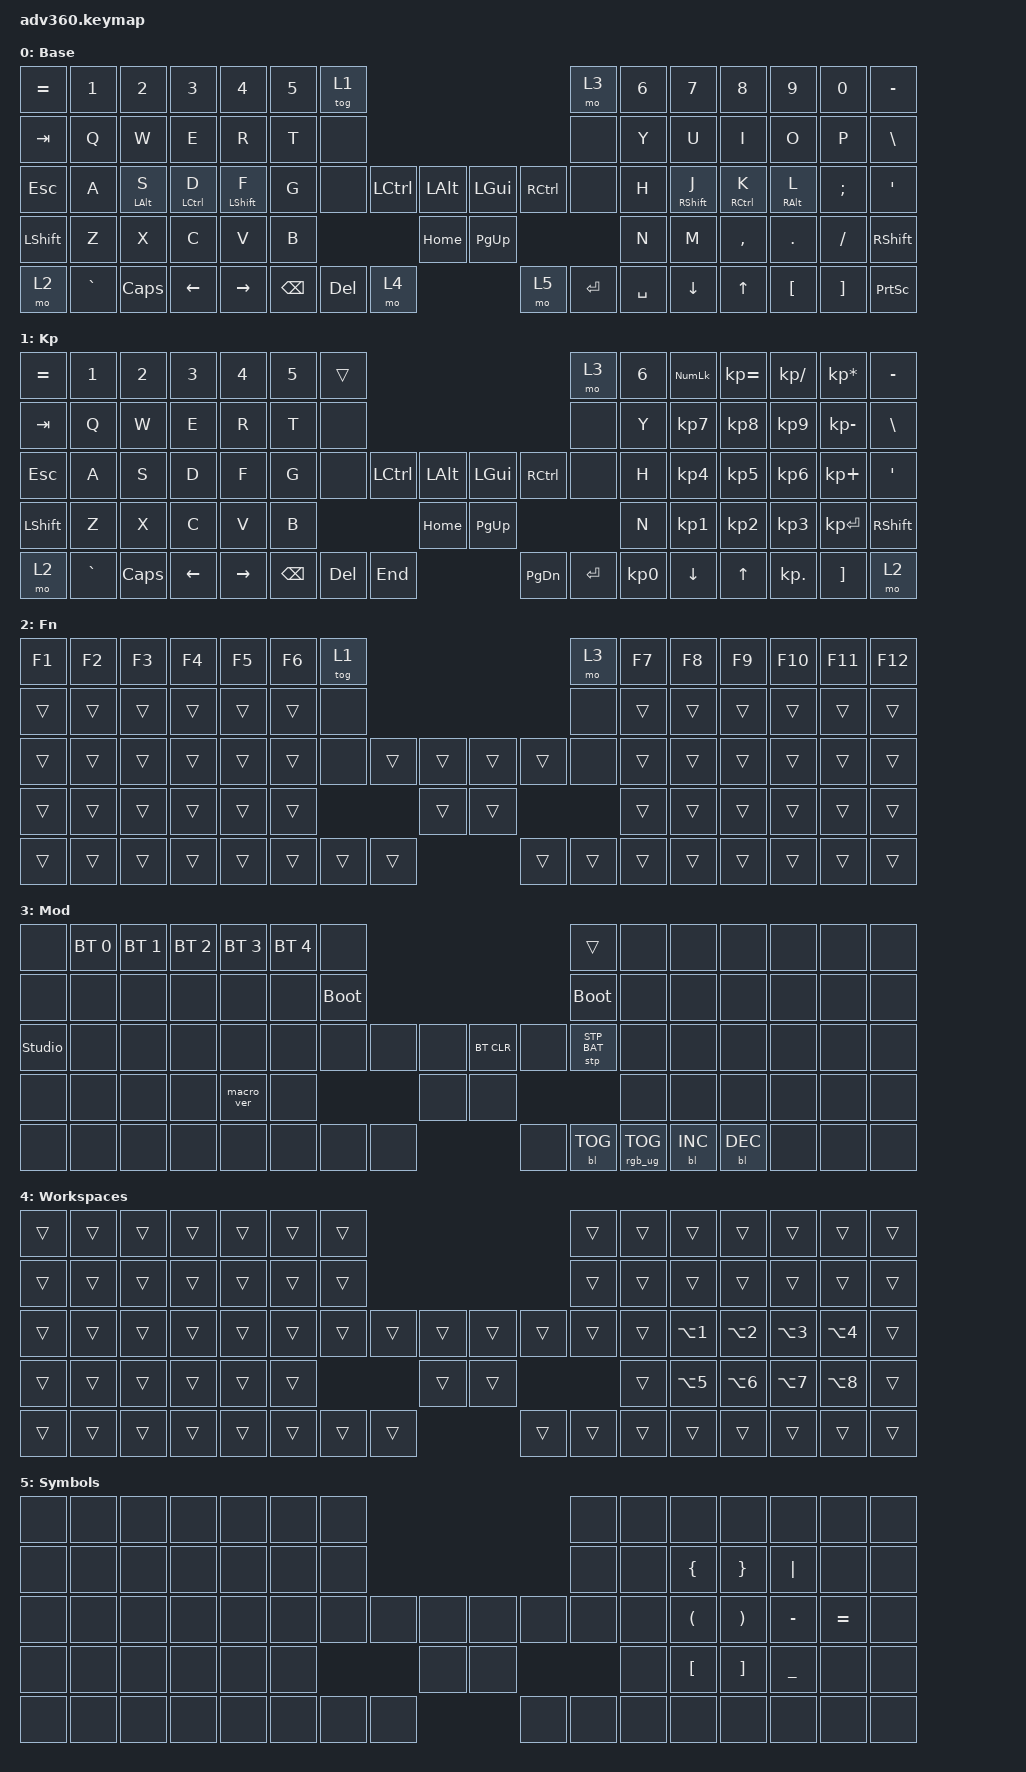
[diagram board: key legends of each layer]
#include <dt-bindings/zmk/stp.h>
#include <behaviors.dtsi>
#include <dt-bindings/zmk/backlight.h>
#include <dt-bindings/zmk/bt.h>
#include <dt-bindings/zmk/keys.h>
#include <dt-bindings/zmk/rgb.h>

/ {
    behaviors {
        #include "macros.dtsi"
      #include "version.dtsi"

        hm: homerow_mods {
            compatible = "zmk,behavior-hold-tap";
            label = "HOMEROW_MODS";
            #binding-cells = <2>;
            tapping-term-ms = <200>;
            quick_tap_ms = <175>;
            flavor = "tap-preferred";
            bindings = <&kp>, <&kp>;
        };
    };

    keymap {
        compatible = "zmk,keymap";

        default_layer {
            display-name = "Base";
            bindings = <
&kp EQUAL  &kp N1     &kp N2     &kp N3      &kp N4      &kp N5  &tog 1                                                   &mo 3      &kp N6  &kp N7        &kp N8     &kp N9    &kp N0    &kp MINUS
&kp TAB    &kp Q      &kp W      &kp E       &kp R       &kp T   &none                                                    &none      &kp Y   &kp U         &kp I      &kp O     &kp P     &kp BSLH
&kp ESC    &kp A      &hm LALT S &hm LCTRL D &hm LSHFT F &kp G &none   &kp LCTRL  &kp LALT      &kp LGUI   &kp RCTRL  &none      &kp H   &hm RSHFT J   &hm RCTRL K &hm RALT L &kp SEMI  &kp SQT
&kp LSHFT  &kp Z      &kp X      &kp C       &kp V       &kp B                        &kp HOME      &kp PG_UP                        &kp N   &kp M         &kp COMMA  &kp DOT   &kp FSLH  &kp RSHFT
&mo 2      &kp GRAVE  &kp CAPS   &kp LEFT    &kp RIGHT          &kp BSPC  &kp DEL    &mo 4         &mo 5   &kp ENTER  &kp SPACE     &kp DOWN  &kp UP        &kp LBKT  &kp RBKT  &kp PRINTSCREEN
            >;
        };

        keypad {
            display-name = "Kp";
            bindings = <
&kp EQUAL  &kp N1     &kp N2    &kp N3    &kp N4     &kp N5  &trans                                                   &mo 3      &kp N6  &kp KP_NUM  &kp KP_EQUAL  &kp KP_DIVIDE  &kp KP_MULTIPLY  &kp MINUS
&kp TAB    &kp Q      &kp W     &kp E     &kp R      &kp T   &none                                                    &none      &kp Y   &kp KP_N7   &kp KP_N8     &kp KP_N9      &kp KP_MINUS     &kp BSLH
&kp ESC    &kp A      &kp S     &kp D     &kp F      &kp G   &none     &kp LCTRL  &kp LALT      &kp LGUI   &kp RCTRL  &none      &kp H   &kp KP_N4   &kp KP_N5     &kp KP_N6      &kp KP_PLUS      &kp SQT
&kp LSHFT  &kp Z      &kp X     &kp C     &kp V      &kp B                        &kp HOME      &kp PG_UP                        &kp N   &kp KP_N1   &kp KP_N2     &kp KP_N3      &kp KP_ENTER     &kp RSHFT
&mo 2      &kp GRAVE  &kp CAPS  &kp LEFT  &kp RIGHT          &kp BSPC  &kp DEL    &kp END       &kp PG_DN  &kp ENTER  &kp KP_N0          &kp DOWN      &kp UP      &kp KP_DOT     &kp RBKT         &mo 2
            >;
        };

        fn {
            display-name = "Fn";
            bindings = <
&kp F1  &kp F2  &kp F3  &kp F4  &kp F5  &kp F6  &tog 1                                      &mo 3   &kp F7  &kp F8  &kp F9  &kp F10  &kp F11  &kp F12
&trans  &trans  &trans  &trans  &trans  &trans  &none                                       &none   &trans  &trans  &trans  &trans   &trans   &trans
&trans  &trans  &trans  &trans  &trans  &trans  &none   &trans  &trans      &trans  &trans  &none   &trans  &trans  &trans  &trans   &trans   &trans
&trans  &trans  &trans  &trans  &trans  &trans                  &trans      &trans                  &trans  &trans  &trans  &trans   &trans   &trans
&trans  &trans  &trans  &trans  &trans          &trans  &trans  &trans      &trans  &trans  &trans          &trans  &trans  &trans   &trans   &trans
            >;
        };

        mod {
            display-name = "Mod";
            bindings = <
&none           &bt BT_SEL 0  &bt BT_SEL 1  &bt BT_SEL 2  &bt BT_SEL 3  &bt BT_SEL 4  &none                                                  &trans           &none  &none       &none       &none  &none  &none
&none           &none         &none         &none         &none         &none         &bootloader                                            &bootloader      &none  &none       &none       &none  &none  &none
&studio_unlock  &none         &none         &none         &none         &none         &none        &none  &none      &bt BT_CLR  &none       &stp STP_BAT     &none  &none       &none       &none  &none  &none
&none           &none         &none         &none         &macro_ver    &none                             &none      &none                                    &none  &none       &none       &none  &none  &none
&none           &none         &none         &none         &none                       &none        &none  &none      &none       &bl BL_TOG  &rgb_ug RGB_TOG         &bl BL_INC  &bl BL_DEC  &none  &none  &none
            >;
        };

        ws {
            display-name = "Workspaces";
            bindings = <
&trans  &trans  &trans  &trans  &trans  &trans  &trans                                      &trans  &trans  &trans      &trans      &trans      &trans      &trans
&trans  &trans  &trans  &trans  &trans  &trans  &trans                                      &trans  &trans  &trans      &trans      &trans      &trans      &trans
&trans  &trans  &trans  &trans  &trans  &trans  &trans  &trans  &trans      &trans  &trans  &trans  &trans  &kp LA(N1)  &kp LA(N2)  &kp LA(N3)  &kp LA(N4)  &trans
&trans  &trans  &trans  &trans  &trans  &trans                  &trans      &trans                  &trans  &kp LA(N5)  &kp LA(N6)  &kp LA(N7)  &kp LA(N8)  &trans
&trans  &trans  &trans  &trans  &trans          &trans  &trans  &trans      &trans  &trans  &trans          &trans      &trans      &trans      &trans      &trans
            >;
        };

        sym {
            display-name = "Symbols";
            bindings = <
&none   &none   &none   &none   &none   &none   &none                                       &none   &none   &none       &none       &none       &none       &none 
&none   &none   &none   &none   &none   &none   &none                                       &none   &none   &kp LBRC  &kp RBRC      &kp PIPE    &none       &none 
&none   &none   &none   &none   &none   &none   &none   &none   &none       &none   &none   &none   &none   &kp LPAR  &kp RPAR      &kp MINUS   &kp EQUAL   &none 
&none   &none   &none   &none   &none   &none                   &none       &none                   &none   &kp LBKT  &kp RBKT      &kp UNDER   &none       &none 
&none   &none   &none   &none   &none           &none   &none   &none       &none   &none   &none           &none       &none       &none       &none       &none 
            >;
        };

        extra2 {
            display-name = "Purple";
            status = "reserved";
        };

        extra3 {
            display-name = "Cyan";
            status = "reserved";
        };

        extra4 {
            display-name = "Yellow";
            status = "reserved";
        };
    };
};
